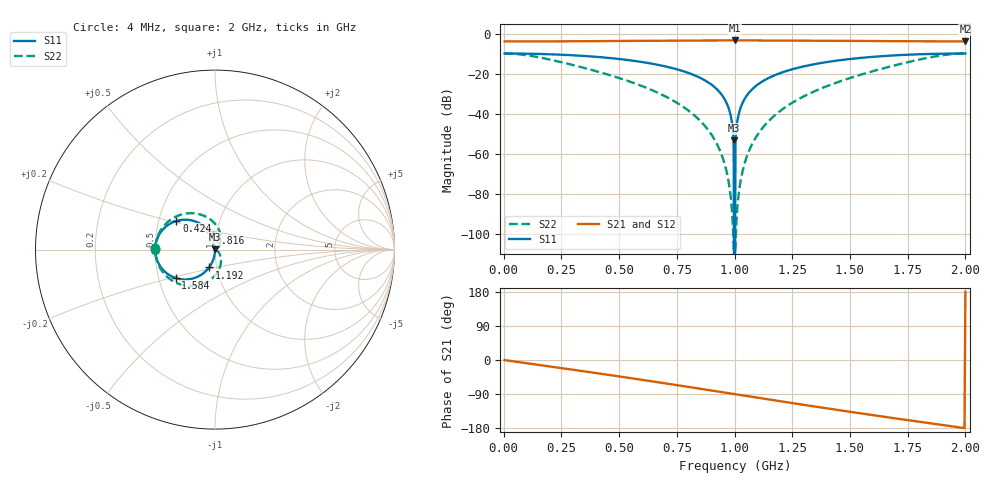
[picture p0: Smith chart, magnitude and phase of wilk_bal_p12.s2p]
!Created with skrf (http://scikit-rf.org).
# GHz S RI R 50.0
!freq ReS11 ImS11 ReS21 ImS21 ReS12 ImS12 ReS22 ImS22
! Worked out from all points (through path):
!   500 points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, 4 MHz to 2 GHz, reference 50 ohm
!   highest |S21| = -3.01 dB at 1 GHz (marker M1); lowest = -3.5 dB at 2 GHz (marker M2)
!   group delay of S21, straight-line fit = 254 ps
!   lowest |S11| = -53.1 dB at 996 MHz (marker M3), VSWR 1.00, Z = 50 + j0.222 ohm
!   |S11| at or under -10 dB: 216.3 MHz to 1.784 GHz (1.567 GHz wide, 157 % of centre)
!   |S22| runs from - to -9.5 dB; largest |S21 - S12| = 6.3e-16
!   S11 on the Smith chart (normalised r, x): 4 MHz: 0.50, +0.00; 424 MHz: 0.62, +0.21; 816 MHz: 0.92, +0.18; 1.192 GHz: 0.92, -0.18; 1.584 GHz: 0.61, -0.21; 2 GHz: 0.50, +0.00
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0.004  -0.3333 0.00197  0.6667 -0.00395  0.6667 -0.00395  -0.3332 0.0079
0.34  -0.2543 0.1418  0.5908 -0.3294  0.5908 -0.3294  -0.00451 0.1493
0.424  -0.2152 0.1594  0.5474 -0.4056  0.5474 -0.4056  0.0234 0.1074
0.672  -0.0884 0.1471  0.3587 -0.5972  0.3587 -0.5972  0.0249 0.0227
0.816  -0.0302 0.0956  0.2116 -0.671  0.2116 -0.671  0.00961 0.00418
0.904  -0.00844 0.0524  0.1124 -0.6971  0.1124 -0.6971  0.00278 0.000603
0.956  -0.00179 0.0243  0.0518 -0.705  0.0518 -0.705  0.000594 5.83e-05
0.984  -0.000237 0.00888  0.0188 -0.7068  0.0188 -0.7068  7.89e-05 2.81e-06
0.996  -1.48e-05 0.00222  0.00471 -0.7071  0.00471 -0.7071  4.93e-06 4.38e-08
1  2.63e-16 -5.69e-17  -1.21e-16 -0.7071  -1.21e-16 -0.7071  -8.15e-17 -2.86e-32
1.004  -1.48e-05 -0.00222  -0.00471 -0.7071  -0.00471 -0.7071  4.93e-06 -4.38e-08
1.008  -5.92e-05 -0.00444  -0.00942 -0.707  -0.00942 -0.707  1.97e-05 -3.51e-07
1.012  -0.000133 -0.00666  -0.0141 -0.7069  -0.0141 -0.7069  4.44e-05 -1.18e-06
1.02  -0.00037 -0.0111  -0.0236 -0.7067  -0.0236 -0.7067  0.000123 -5.48e-06
1.048  -0.00213 -0.0265  -0.0565 -0.7046  -0.0565 -0.7046  0.000707 -7.57e-05
1.104  -0.00989 -0.0565  -0.1216 -0.6954  -0.1216 -0.6954  0.00325 -0.000766
1.192  -0.0327 -0.0992  -0.2204 -0.6678  -0.2204 -0.6678  0.0104 -0.00474
1.336  -0.0922 -0.1491  -0.3661 -0.5921  -0.3661 -0.5921  0.0257 -0.0243
1.584  -0.2191 -0.1582  -0.552 -0.3985  -0.552 -0.3985  0.0217 -0.1112
1.668  -0.2577 -0.1396  -0.5944 -0.322  -0.5944 -0.322  -0.00847 -0.1534
1.856  -0.3183 -0.0691  -0.6533 -0.1418  -0.6533 -0.1418  -0.192 -0.1941
2  -0.3333 1.01e-16  -0.6667 2.02e-16  -0.6667 2.02e-16  -0.3333 4.04e-16
